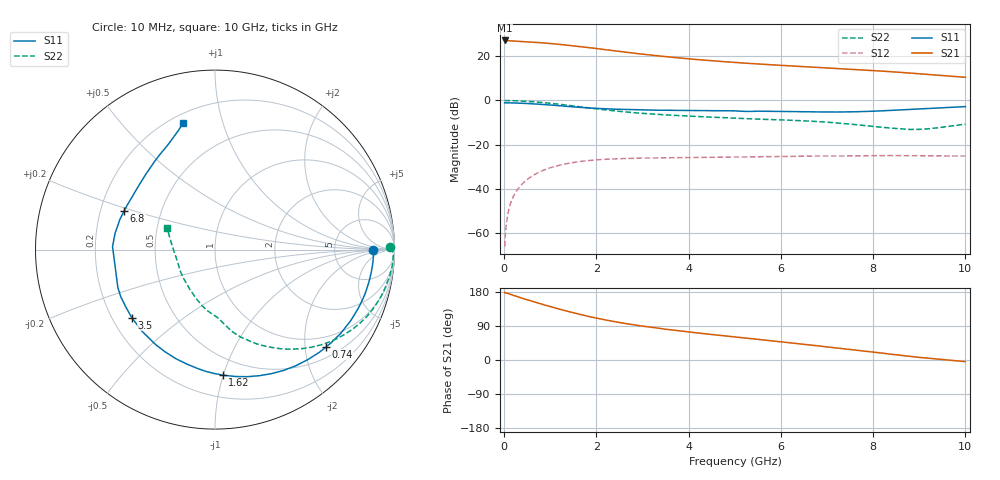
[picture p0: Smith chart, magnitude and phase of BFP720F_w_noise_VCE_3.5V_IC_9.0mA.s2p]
! Infineon Technologies  Discrete & RF Semiconductors
! BFP720F
! VCE =  3.5 V,  IC =  9.0 mA
! Common Emitter S-Parameters:  Jan 2016
# GHz  S  MA  R  50
!  f  S11  S21  S12  S22
! GHz  MAG  ANG  MAG  ANG  MAG  ANG  MAG  ANG
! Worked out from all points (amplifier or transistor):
!   233 points, 10 MHz to 10 GHz, reference 50 ohm
!   highest |S21| = 27.2 dB at 10 MHz (marker M1)
!   |S21| within 3 dB of that: start of sweep to 1.748 GHz
!   unconditionally stable (mu >= 1): start of sweep to 13.45 MHz; 6.896 GHz to end of sweep
!   at 200 MHz: K = 0.07, MSG = 35.2 dB, |S12| = -43.5 dB
!   at 1.74 GHz: K = 0.29, MSG = 25.8 dB, |S12| = -27.4 dB
!   at 10 GHz: K = 1.28, MAG = 14.7 dB, |S12| = -25.2 dB
!   lowest NFmin = 0.52 dB at 450 MHz
!   S11 on the Smith chart (normalised r, x): 10 MHz: 16, -0; 740 MHz: 0.74, -2.48; 1.62 GHz: 0.36, -1.00; 3.5 GHz: 0.28, -0.33; 6.8 GHz: 0.30, +0.19; 10 GHz: 0.25, +0.75
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0.01  0.8799 -0.2  22.84 178.8  0.0005 -13.8  0.9775 0.7
0.02  0.8841 -1.0  22.54 176.9  0.0008 81.3  0.9948 -1.2
0.05  0.8833 -2.9  22.67 176.9  0.0016 79.0  0.9934 -1.7
0.14  0.88 -7.8  22.39 173.0  0.0047 83.3  0.9919 -4.8
0.26  0.8733 -14.6  21.98 168.0  0.0086 80.4  0.9829 -9.0
0.45  0.8574 -25.1  21.34 160.8  0.0147 74.9  0.9621 -15.5
0.74  0.823 -41.1  20.46 150.2  0.0232 66.0  0.9166 -25.0
0.92  0.7984 -50.9  19.83 143.7  0.028 60.8  0.8812 -30.6
1.16  0.7647 -63.4  18.79 135.5  0.0334 54.0  0.8282 -37.7
1.34  0.7387 -72.5  17.99 129.6  0.0368 49.4  0.7872 -42.7
1.62  0.7005 -86.4  16.8 120.8  0.0411 42.9  0.7237 -49.9
1.68  0.6933 -89.1  16.5 119.1  0.0418 41.6  0.7099 -51.3
2.02  0.6588 -102.9  14.91 110.0  0.0452 35.1  0.6417 -58.7
2.48  0.629 -118.4  12.96 99.4  0.0479 28.0  0.5682 -66.7
2.9  0.6118 -129.4  11.48 91.2  0.0491 23.4  0.5189 -72.2
3.4  0.6 -139.0  10.08 83.0  0.0501 19.3  0.4785 -76.8
3.5  0.599 -140.8  9.823 81.2  0.0503 18.5  0.4709 -77.7
4  0.5904 -147.8  8.755 73.9  0.0509 15.5  0.4409 -80.6
5.1  0.5718 -163.1  7.133 59.6  0.0523 11.1  0.393 -85.9
6.8  0.5498 157.0  5.604 37.4  0.055 5.6  0.3315 -100.0
8.4  0.5962 124.2  4.469 15.1  0.0564 -0.1  0.2363 -138.9
10  0.7252 104.3  3.348 -4.3  0.0551 -3.4  0.2913 156.0
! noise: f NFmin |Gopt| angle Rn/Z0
0.45  0.52  0.33  4  0.18
0.9  0.55  0.31  9  0.15
1.8  0.6  0.29  15  0.14
2.4  0.63  0.26  25  0.14
5.5  0.77  0.25  48  0.08
10  0.99  0.27  -94  0.17
